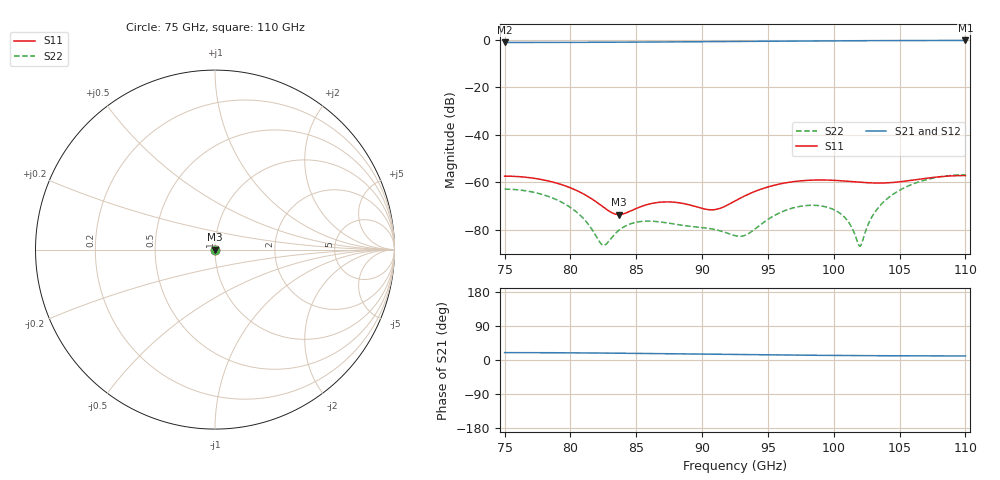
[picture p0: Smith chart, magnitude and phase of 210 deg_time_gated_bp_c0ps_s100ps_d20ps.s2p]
# Hz S RI R 50.000000
! Metas.Vna.Tools, 2.4.7724.19584
! Metas.Vna.Data, 2.4.7724.19560
! Created: UTC 2021.04.29 12:40:11
! FREQ  re:S1,1  im:S1,1  re:S2,1  im:S2,1  re:S1,2  im:S1,2  re:S2,2  im:S2,2
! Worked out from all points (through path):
!   1401 points, 75 GHz to 110 GHz, reference 50 ohm
!   highest |S21| = -0.22 dB at 110 GHz (marker M1); lowest = -1.1 dB at 75 GHz (marker M2)
!   lowest |S11| = -73.6 dB at 83.67 GHz (marker M3), VSWR 1.00, Z = 50 + j0.00699 ohm
!   |S11| at or under -10 dB: start of sweep to end of sweep
!   |S22| runs from -87.0 to -56.9 dB; largest |S21 - S12| = 0.006
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7.5e10  -0.000372 -0.00129  0.8336 0.2949  0.8344 0.2955  -0.000592 0.000399
7.8325e10  -0.000364 -0.000998  0.8365 0.2919  0.8374 0.2928  -0.00042 0.000274
7.9725e10  -0.000346 -0.000737  0.8395 0.2889  0.8403 0.2902  -0.000281 0.000171
8.085e10  -0.000321 -0.0005  0.8425 0.2858  0.8434 0.2875  -0.000169 8.26e-05
8.175e10  -0.000291 -0.000305  0.8454 0.2829  0.8462 0.285  -8.87e-05 1.64e-05
8.3675e10  -0.000196 7e-05  0.8526 0.2757  0.8535 0.2785  2.58e-05 -9.33e-05
8.505e10  -0.000104 0.000264  0.8586 0.2698  0.8595 0.2731  5.06e-05 -0.000135
8.6675e10  1.84e-05 0.000375  0.8665 0.2622  0.8674 0.2659  2.76e-05 -0.000144
8.82e10  0.000131 0.000346  0.8743 0.2547  0.8753 0.2587  -1.99e-05 -0.000125
9.075e10  0.000259 3.69e-05  0.8883 0.2415  0.8895 0.2457  -6.59e-05 -7.98e-05
9.25e10  0.000269 -0.000298  0.8981 0.2326  0.8994 0.2364  -2.56e-05 -7.01e-05
9.3925e10  0.000219 -0.000585  0.906 0.2254  0.9075 0.2288  5.33e-05 -8.29e-05
9.6175e10  3.76e-05 -0.00095  0.918 0.2148  0.9198 0.2171  0.000209 -0.000127
9.835e10  -0.000226 -0.00108  0.9287 0.2056  0.9308 0.2065  0.000288 -0.000154
1e11  -0.00045 -0.000999  0.936 0.1995  0.9383 0.1992  0.000228 -0.000134
1.00775e11  -0.000555 -0.000906  0.9392 0.1969  0.9415 0.196  0.000155 -0.000107
1.01525e11  -0.000653 -0.000788  0.942 0.1946  0.9445 0.1931  5.67e-05 -6.97e-05
1.02275e11  -0.000746 -0.000646  0.9447 0.1924  0.9472 0.1905  -6.6e-05 -2.25e-05
1.033e11  -0.000861 -0.000424  0.9479 0.1898  0.9506 0.1871  -0.000266 5.57e-05
1.04175e11  -0.000948 -0.000221  0.9504 0.1878  0.9531 0.1846  -0.000458 0.000131
1.06725e11  -0.00113 0.000336  0.9556 0.1837  0.9586 0.1791  -0.00101 0.000353
1.1e11  -0.00122 0.00066  0.9581 0.1817  0.9612 0.1766  -0.00135 0.00049
